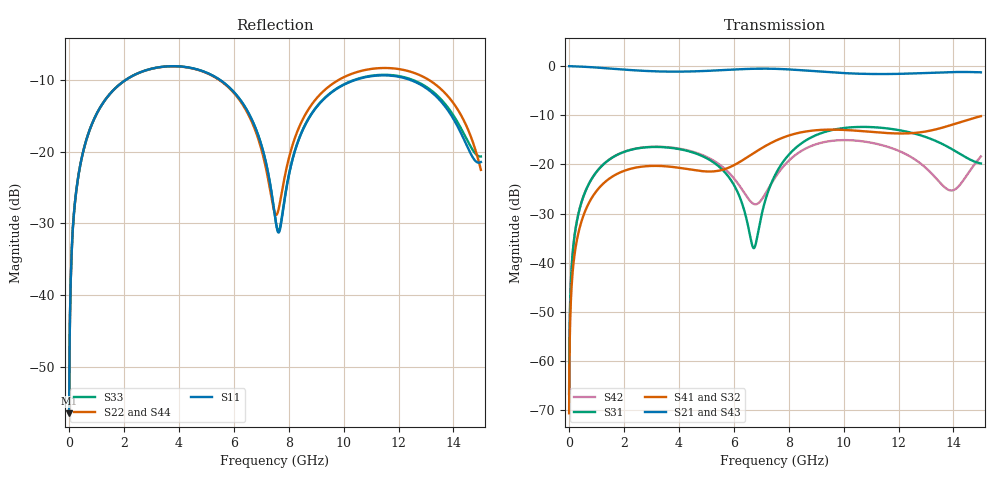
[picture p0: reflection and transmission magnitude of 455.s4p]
! Created with skrf 1.8.0 (http://scikit-rf.org).
# GHz S RI R 50.0
!freq ReS11 ImS11 ReS12 ImS12 ReS13 ImS13
! ReS14 ImS14
! ReS21 ImS21 ReS22 ImS22 ReS23 ImS23
! ReS24 ImS24
! ReS31 ImS31 ReS32 ImS32 ReS33 ImS33
! ReS34 ImS34
! ReS41 ImS41 ReS42 ImS42 ReS43 ImS43
! ReS44 ImS44
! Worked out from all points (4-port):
!   2499 points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, 5 MHz to 15 GHz, reference 50 ohm
!   strongest paths, dB at 5 MHz, 3.476 GHz, 7.19 GHz, 11.1 GHz, 15 GHz:
!     S21: 0.0, -1.1, -0.5, -1.6, -1.3
!     S43: 0.0, -1.1, -0.5, -1.6, -1.3
!     S41: -70.6, -20.3, -16.1, -13.4, -10.2
!     S32: -70.6, -20.3, -16.1, -13.3, -10.2
!     S31: -66.6, -16.5, -26.5, -12.4, -19.8
!     S42: -66.6, -16.4, -25.6, -15.7, -18.4
!   lowest |S11| = -56.5 dB at 5 MHz (marker M1), VSWR 1.00, Z = 50.1 + j0.0907 ohm
!   |S11| at or under -10 dB: start of sweep to 2.047 GHz; 5.515 GHz to 10.4 GHz (4.88 GHz wide, 61.3 % of centre); 12.46 GHz to end of sweep
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0.005  0.00119 0.000905  0.9988 -0.00232  5.81e-05 0.000462  -5.66e-05 -0.00029
       0.9988 -0.00232  0.00119 0.000905  -5.66e-05 -0.00029  5.82e-05 0.000462
       5.81e-05 0.000462  -5.66e-05 -0.00029  0.00119 0.000905  0.9988 -0.00232
       -5.66e-05 -0.00029  5.82e-05 0.000462  0.9988 -0.00232  0.00119 0.000905
0.4126719  0.0212 0.0784  0.9707 -0.1897  0.00978 0.0363  -0.00814 -0.0226
           0.9707 -0.1897  0.0212 0.0784  -0.00815 -0.0226  0.00981 0.0363
           0.00978 0.0363  -0.00815 -0.0226  0.0212 0.0784  0.9707 -0.1897
           -0.00814 -0.0226  0.00981 0.0363  0.9707 -0.1897  0.0212 0.0784
2.025844  0.2528 0.1866  0.5868 -0.7092  0.1183 0.0648  -0.0857 -0.0123
          0.5868 -0.7092  0.2525 0.1868  -0.0859 -0.0121  0.119 0.064
          0.1183 0.0648  -0.0859 -0.0121  0.2527 0.1867  0.5868 -0.7092
          -0.0857 -0.0123  0.119 0.064  0.5868 -0.7092  0.2526 0.1867
6.727803  0.0764 -0.1374  -0.8529 -0.3952  0.014 0.00149  -0.0521 0.1197
          -0.8529 -0.3952  0.08 -0.1277  -0.049 0.1211  -0.0344 -0.0199
          0.014 0.00149  -0.049 0.1211  0.077 -0.1366  -0.853 -0.3949
          -0.0521 0.1197  -0.0344 -0.0199  -0.853 -0.3949  0.0788 -0.1279
7.546895  0.0267 -0.0157  -0.9356 -0.0646  0.0386 0.0724  -0.0102 0.1753
          -0.9356 -0.0646  0.0362 -0.00161  -0.00595 0.1755  -0.0355 0.0679
          0.0386 0.0724  -0.00595 0.1755  0.0274 -0.015  -0.9356 -0.064
          -0.0102 0.1753  -0.0355 0.0679  -0.9356 -0.064  0.0351 -0.000499
10.72947  0.3186 0.0856  -0.2977 0.7797  0.2229 -0.0917  0.2176 0.00761
          -0.2977 0.7797  0.366 0.0609  0.2205 0.000825  0.1636 0.0514
          0.2229 -0.0917  0.2205 0.000825  0.3204 0.0879  -0.2963 0.7786
          0.2176 0.00761  0.1636 0.0514  -0.2963 0.7786  0.3714 0.0616
15  0.0842 0.011  0.8435 0.1906  -0.0963 0.0352  0.0746 -0.3007
    0.8435 0.1906  0.0397 -0.0634  0.0581 -0.3046  0.0654 0.1015
    -0.0963 0.0352  0.0581 -0.3046  0.0928 0.00198  0.8423 0.1929
    0.0746 -0.3007  0.0654 0.1015  0.8423 0.1929  0.039 -0.0718
